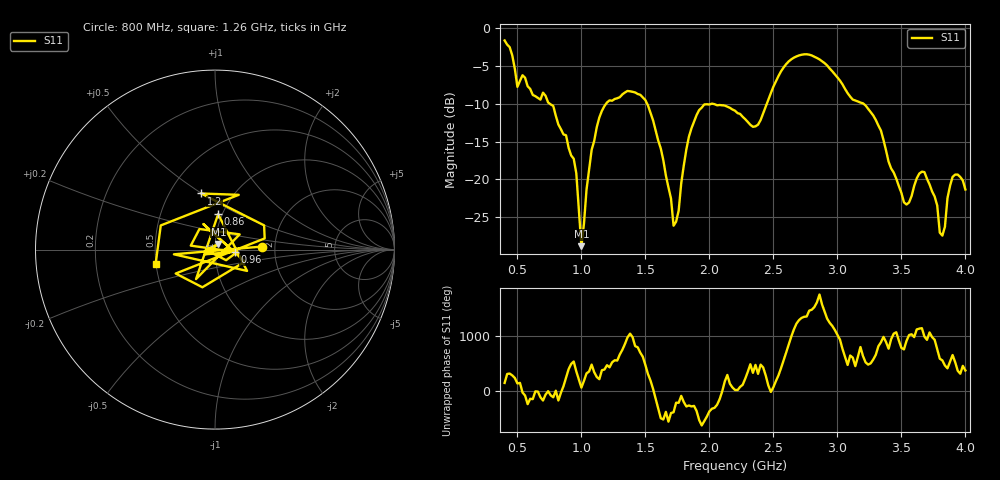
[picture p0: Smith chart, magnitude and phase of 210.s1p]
!Created with skrf (http://scikit-rf.org).
# Hz S RI R 50.0
!freq ReS11 ImS11
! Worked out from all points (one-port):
!   181 points, 400 MHz to 4 GHz, reference 50 ohm
!   lowest |S11| = -28.8 dB at 1 GHz (marker M1), VSWR 1.08, Z = 51.8 + j3.21 ohm
!   |S11| at or under -10 dB: 752.6 MHz to 1.193 GHz (440.5 MHz wide, 45.3 % of centre); 1.514 GHz to 2.019 GHz (505.2 MHz wide, 28.6 % of centre); 3.203 GHz to end of sweep (the widest 3 of 4)
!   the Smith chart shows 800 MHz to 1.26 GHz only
!   S11 on the Smith chart (normalised r, x): 800 MHz: 1.71, +0.06; 860 MHz: 0.96, +0.39; 960 MHz: 1.24, -0.03; 1.2 GHz: 0.71, +0.50; 1.26 GHz: 0.50, -0.09
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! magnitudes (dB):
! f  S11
! 400 MHz  -1.6
! 500 MHz  -7.8
! 540 MHz  -6.2
! 800 MHz  -11.6
! 860 MHz  -14.1
! 960 MHz  -19.2
! 1 GHz  -28.8
! 1.08 GHz  -16.1
! 1.2 GHz  -9.8
! 1.26 GHz  -9.4
! 1.3 GHz  -9.1
! 1.5 GHz  -9.5
! 1.62 GHz  -15.9
! 1.72 GHz  -26.1
! 1.76 GHz  -24.1
! 1.84 GHz  -14.4
! 1.92 GHz  -10.8
! 2.2 GHz  -10.9
! 2.38 GHz  -12.8
! 2.66 GHz  -3.9
! 2.86 GHz  -4.1
! 3.1 GHz  -9.1
! 3.3 GHz  -12.2
! 3.56 GHz  -23.0
! 3.68 GHz  -19.0
! 3.82 GHz  -27.4
! 3.9 GHz  -19.7
! 4 GHz  -21.3
